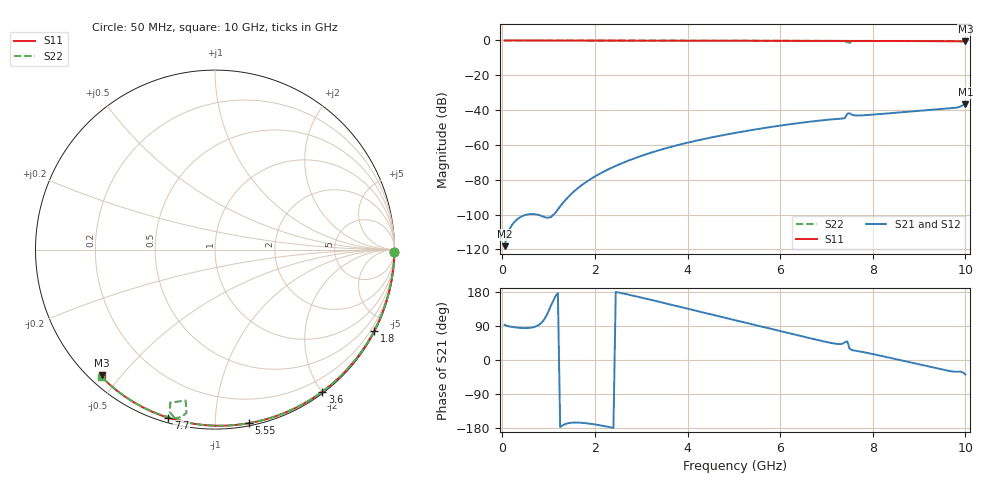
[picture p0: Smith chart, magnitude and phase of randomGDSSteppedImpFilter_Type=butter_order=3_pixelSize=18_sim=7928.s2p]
! freq	dB(S11)	phase(S11)	dB(S12)	phase(S12)
!  dB(S21)	phase(S21)	dB(S22)	phase(S22)
!S-par simulation data
#  GHz  S  DB  R 50
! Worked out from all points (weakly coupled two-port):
!   200 points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, 50 MHz to 10 GHz, reference 50 ohm
!   highest |S21| = -36.64 dB at 10 GHz (marker M1); lowest = -118.1 dB at 50 MHz (marker M2)
!   lowest |S11| = -0.5 dB at 10 GHz (marker M3), VSWR 34.37, Z = 1.74 - j22.2 ohm
!   |S11| at or under -10 dB: nowhere
!   |S22| runs from -1.3 to 0.0 dB; largest |S21 - S12| = 0
!   S11 on the Smith chart (normalised r, x): 50 MHz: open; 1.8 GHz: 0.04, -4.15; 3.6 GHz: 0.02, -2.01; 5.55 GHz: 0.02, -1.21; 7.7 GHz: 0.02, -0.76; 10 GHz: 0.03, -0.44
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0.05  -0.00 -0.8  -118.11 92.6  -118.11 92.6  -0.00 -0.8
0.9  -0.02 -13.7  -101.29 106.1  -101.29 106.1  -0.02 -13.7
1.75  -0.03 -26.3  -82.39 -166.1  -82.39 -166.1  -0.03 -26.4
1.8  -0.03 -27.1  -81.45 -166.7  -81.45 -166.7  -0.03 -27.1
1.9  -0.04 -28.5  -79.70 -168.2  -79.70 -168.2  -0.04 -28.6
2.25  -0.04 -33.7  -74.51 -175.5  -74.51 -175.5  -0.04 -33.7
2.65  -0.05 -39.5  -69.76 174.5  -69.76 174.5  -0.05 -39.5
3.4  -0.07 -50.1  -62.91 153.2  -62.91 153.2  -0.07 -50.2
3.6  -0.07 -52.9  -61.40 147.3  -61.40 147.3  -0.07 -53.0
4.25  -0.09 -61.9  -57.18 127.9  -57.18 127.9  -0.09 -61.9
5.05  -0.11 -72.5  -52.97 104.3  -52.97 104.3  -0.11 -72.7
5.55  -0.13 -79.0  -50.72 89.8  -50.72 89.8  -0.13 -79.2
6.7  -0.18 -93.5  -46.45 55.9  -46.45 55.9  -0.18 -94.0
7.35  -0.22 -101.4  -44.83 43.0  -44.83 43.0  -0.36 -103.9
7.4  -0.22 -102.0  -44.45 47.0  -44.45 47.0  -0.53 -105.4
7.45  -0.22 -102.6  -42.08 49.2  -42.08 49.2  -1.03 -106.3
7.5  -0.23 -103.2  -41.75 29.9  -41.75 29.9  -1.34 -101.0
7.55  -0.23 -103.7  -42.67 26.1  -42.67 26.1  -0.69 -99.9
7.7  -0.24 -105.5  -43.07 23.1  -43.07 23.1  -0.31 -103.7
8.35  -0.29 -113.2  -41.83 6.3  -41.83 6.3  -0.30 -112.6
9.8  -0.43 -129.9  -38.62 -31.0  -38.62 -31.0  -0.43 -129.5
10  -0.51 -132.1  -36.64 -38.3  -36.64 -38.3  -0.44 -131.8
